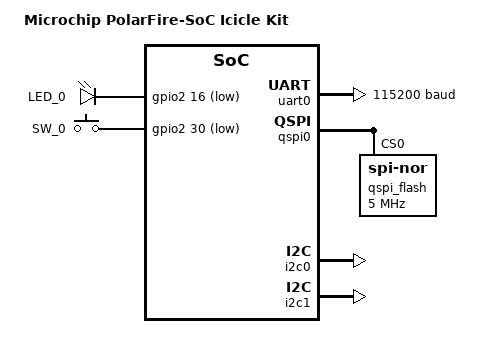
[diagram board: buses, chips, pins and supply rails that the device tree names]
/*
 * Copyright (c) 2020-2021 Microchip Technology Inc
 *
 * SPDX-License-Identifier: Apache-2.0
 */

/dts-v1/;
#include <microchip/mpfs-icicle.dtsi>
#include <zephyr/dt-bindings/input/input-event-codes.h>
#include <mem.h>

/ {
	model = "Microchip PolarFire-SoC Icicle Kit";
	compatible = "microchip,mpfs-icicle-kit", "microchip,mpfs";
	aliases {
		led0 = &led0;
		sw0 = &sw0;
		i2c0 = &i2c0;
		i2c1 = &i2c1;
	};

	chosen {
		zephyr,console = &uart0;
		zephyr,shell-uart = &uart0;
		zephyr,sram = &sram1;
	};

	leds {
		compatible = "gpio-leds";

		led0: led0 {
			gpios = <&gpio2 16 GPIO_ACTIVE_LOW>;
			label = "LED_0";
		};
	};

	keys {
		compatible = "gpio-keys";
		sw0: sw0 {
			gpios = <&gpio2 30 GPIO_ACTIVE_LOW>;
			label = "SW_0";
			zephyr,code = <INPUT_KEY_0>;
		};
	};
};

&uart0 {
	status = "okay";
	current-speed = <115200>;
	clock-frequency = <150000000>;
};

&qspi0 {
	status = "okay";
	qspi_flash: spi-nor-flash@0 {
		compatible = "jedec,spi-nor";
		reg = <0>;
		spi-max-frequency = <5000000>;
		size = <DT_SIZE_M(256)>;
		jedec-id = [20 ba 19];
	};
};

&gpio2 {
	status = "okay";
};

&i2c0 {
	status = "okay";
};

&i2c1 {
	status = "okay";
};
